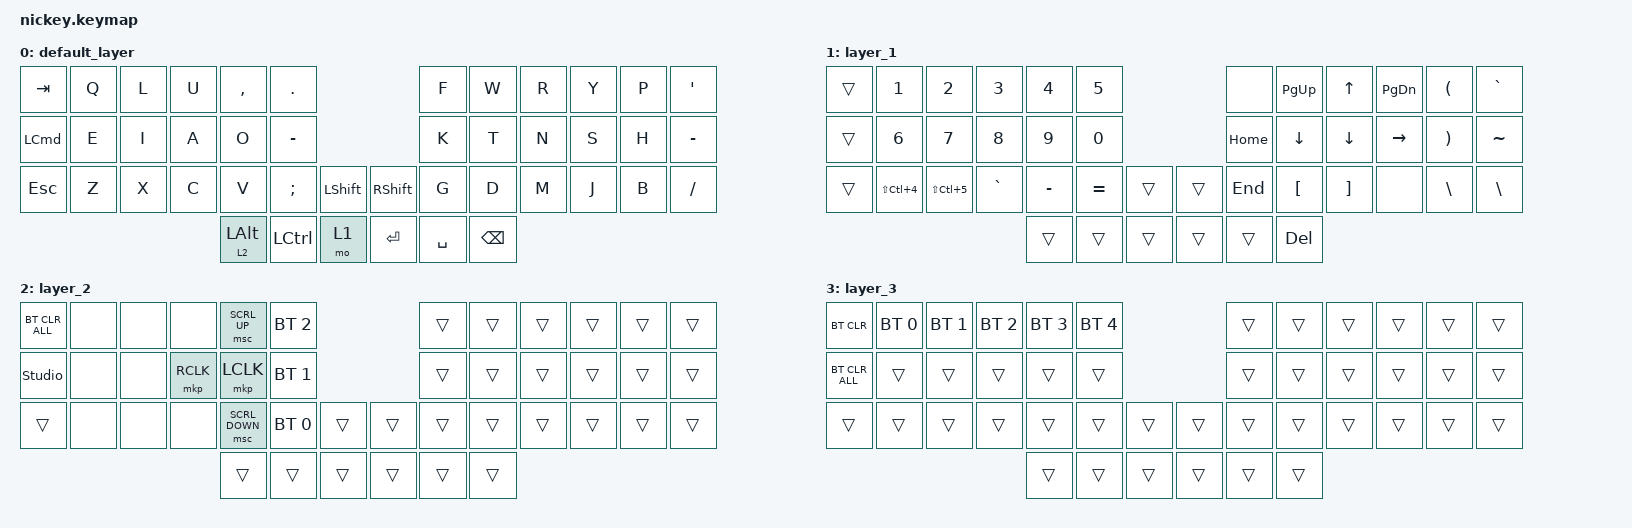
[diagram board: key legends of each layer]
#include <input/processors.dtsi>
#include <dt-bindings/zmk/input_transform.h>
#include <zephyr/dt-bindings/input/input-event-codes.h>
#include <behaviors.dtsi>
#include <dt-bindings/zmk/bt.h>
#include <dt-bindings/zmk/keys.h>
#include <dt-bindings/zmk/pointing.h>

&mt {
    flavor = "balanced";
    quick-tap-ms = <0>;
};

&lt {
    quick-tap-ms = <300>;
    flavor = "balanced";
};

/ {
    combos { compatible = "zmk,combos"; };

    macros {
        to_layer_0: to_layer_0 {
            compatible = "zmk,behavior-macro-one-param";
            #binding-cells = <1>;
            bindings = <&to 0 &macro_param_1to1 &kp MACRO_PLACEHOLDER>;
            label = "TO_LAYER_0";
        };
    };

    behaviors {
        lt_to_layer_0: lt_to_layer_0 {
            compatible = "zmk,behavior-hold-tap";
            label = "LAYER_TAP_TO_0";
            bindings = <&mo>, <&to_layer_0>;

            #binding-cells = <2>;
            tapping-term-ms = <200>;
        };

        scroll_up_down: mouse_wheel_up_down {
            compatible = "zmk,behavior-sensor-rotate";
            #sensor-binding-cells = <0>;
            bindings = <&msc SCRL_DOWN>, <&msc SCRL_UP>;

            tap-ms = <20>;
        };

        scroll_right_left: mouse_wheel_right_left {
            compatible = "zmk,behavior-sensor-rotate";
            #sensor-binding-cells = <0>;
            bindings = <&msc SCRL_LEFT>, <&msc SCRL_RIGHT>;

            tap-ms = <20>;
        };
    };

    keymap {
        compatible = "zmk,keymap";

        default_layer {
            bindings = <
&kp TAB     &kp Q  &kp L  &kp U  &kp COMMA       &kp PERIOD                                        &kp F      &kp W          &kp R  &kp Y  &kp P  &kp SQT
&kp LCMD    &kp E  &kp I  &kp A  &kp O           &kp MINUS                                         &kp K      &kp T          &kp N  &kp S  &kp H  &kp MINUS
&kp ESCAPE  &kp Z  &kp X  &kp C  &kp V           &kp SEMICOLON  &kp LEFT_SHIFT    &kp RIGHT_SHIFT  &kp G      &kp D          &kp M  &kp J  &kp B  &kp SLASH
                                 &lt 2 LEFT_ALT  &kp LCTRL      &mo 1             &kp ENTER        &kp SPACE  &kp BACKSPACE
            >;
        };

        layer_1 {
            bindings = <
&trans  &kp NUMBER_1    &kp NUMBER_2    &kp NUMBER_3  &kp NUMBER_4  &kp NUMBER_5                    &none     &kp PG_UP         &kp UP_ARROW       &kp PG_DN  &kp LEFT_PARENTHESIS   &kp GRAVE
&trans  &kp NUMBER_6    &kp N7          &kp N8        &kp N9        &kp N0                          &kp HOME  &kp DOWN          &kp DOWN_ARROW     &kp RIGHT  &kp RIGHT_PARENTHESIS  &kp TILDE
&trans  &kp LS(LC(N4))  &kp LS(LC(N5))  &kp GRAVE     &kp MINUS     &kp EQUAL     &trans    &trans  &kp END   &kp LEFT_BRACKET  &kp RIGHT_BRACKET  &none      &kp BACKSLASH          &kp BACKSLASH
                                                      &trans        &trans        &trans    &trans  &trans    &kp DELETE
            >;
        };

        layer_2 {
            bindings = <
&bt BT_CLR_ALL  &none  &none  &none      &msc SCRL_UP    &bt BT_SEL 2                    &trans  &trans  &trans  &trans  &trans  &trans
&studio_unlock  &none  &none  &mkp RCLK  &mkp LCLK       &bt BT_SEL 1                    &trans  &trans  &trans  &trans  &trans  &trans
&trans          &none  &none  &none      &msc SCRL_DOWN  &bt BT_SEL 0  &trans    &trans  &trans  &trans  &trans  &trans  &trans  &trans
                                         &trans          &trans        &trans    &trans  &trans  &trans
            >;
        };

        layer_3 {
            bindings = <
&bt BT_CLR      &bt BT_SEL 0  &bt BT_SEL 1  &bt BT_SEL 2  &bt BT_SEL 3  &bt BT_SEL 4                    &trans  &trans  &trans  &trans  &trans  &trans
&bt BT_CLR_ALL  &trans        &trans        &trans        &trans        &trans                          &trans  &trans  &trans  &trans  &trans  &trans
&trans          &trans        &trans        &trans        &trans        &trans        &trans    &trans  &trans  &trans  &trans  &trans  &trans  &trans
                                                          &trans        &trans        &trans    &trans  &trans  &trans
            >;
        };
    };
};
